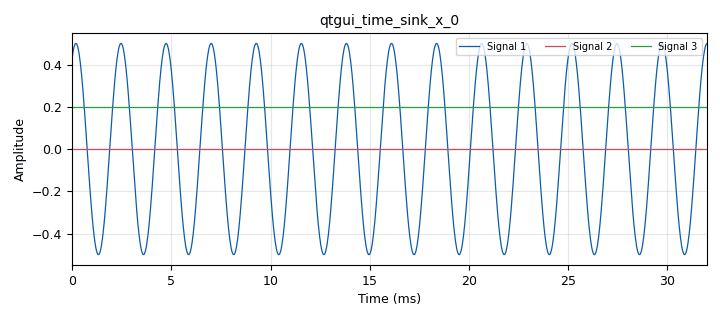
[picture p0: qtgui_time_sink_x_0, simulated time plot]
options:
  parameters:
    generate_options: qt_gui
    id: part_2
    output_language: python
    title: Not titled yet
  states: {}

blocks:
- name: samp_rate
  id: variable
  parameters:
    value: '32000'
  states: {}
- name: sim_ctcss
  id: variable_qtgui_chooser
  parameters:
    label: Symulacja CTCSS
    label0: Brak Tonu
    label1: Wykryto Ton
    num_opts: '2'
    option0: '0'
    option1: '1'
    type: real
    value: '0'
  states: {}
- name: sim_power
  id: variable_qtgui_chooser
  parameters:
    label: Symulacja Tonu 1750Hz
    label0: Cisza
    label1: PIK!
    num_opts: '2'
    option0: '0'
    option1: '1'
    type: real
    value: '0'
  states: {}
- name: analog_const_source_x_0
  id: analog_const_source_x
  parameters:
    const: sim_ctcss
    type: float
  states: {}
- name: analog_const_source_x_0_0
  id: analog_const_source_x
  parameters:
    const: sim_power
    type: float
  states: {}
- name: analog_sig_source_x_0
  id: analog_sig_source_x
  parameters:
    amp: '0.5'
    freq: '440'
    offset: '0'
    phase: '0'
    samp_rate: samp_rate
    type: float
    waveform: analog.GR_COS_WAVE
  states: {}
- name: blocks_throttle2_0
  id: blocks_throttle2
  parameters:
    samples_per_second: samp_rate
    type: float
  states: {}
- name: epy_block_0
  id: epy_block
  parameters:
    _source_code: |-
      import numpy as np
      from gnuradio import gr

      class repeater_control(gr.sync_block):
          """
          Logika sterująca przemiennikiem:
          - Wejście 0: Surowe Audio (zdemodulowane)
          - Wejście 1: Detekcja CTCSS (sygnał 0.0 lub 1.0)
          - Wejście 2: Detekcja Tonu Mocy (sygnał 0.0 lub 1.0)
          
          - Wyjście 0: Audio Bramkowane (idzie do nadajnika)
          - Wyjście 1: Poziom Mocy (mnożnik dla bloku Multiply)
          """

          def __init__(self, sample_rate=48000, cooldown_seconds=2.0):
              gr.sync_block.__init__(
                  self,
                  name='Repeater Logic Controller',   
                  in_sig=[np.float32, np.float32, np.float32],
                  out_sig=[np.float32, np.float32]
              )
              
              # Konfiguracja
              self.sample_rate = sample_rate
              self.cooldown_samples = int(sample_rate * cooldown_seconds)
              
              # Stan wewnętrzny
              self.current_gain = 0.2  # Domyślna moc (np. 20% amplitudy)
              self.high_gain = 1.0     # Maksymalna moc
              self.low_gain = 0.2      # Minimalna moc
              
              self.timer = 0           # Licznik czasu do debouncingu przełączania mocy

          def work(self, input_items, output_items):
              # Pobranie buforów wejściowych
              audio_in = input_items[0]
              ctcss_signal = input_items[1]
              power_cmd_signal = input_items[2]
              
              # Przygotowanie buforów wyjściowych
              audio_out = output_items[0]
              gain_out = output_items[1]
              
              # --- LOGIKA 1: Bramka Szumów (Squelch) na podstawie CTCSS ---
              # Tworzymy maskę: gdzie CTCSS > 0.5, tam 1, indziej 0
              # Możemy użyć np.mean dla całego bloku, lub próbka po próbce.
              # Tutaj wersja próbka po próbce dla szybkiej reakcji:
              squelch_mask = (ctcss_signal > 0.5).astype(np.float32)
              
              # Mnożymy audio przez maskę (1=gra, 0=cisza)
              audio_out[:] = audio_in * squelch_mask
              
              # --- LOGIKA 2: Zmiana Mocy (z zabezpieczeniem czasowym) ---
              # Sprawdzamy, czy w aktualnym buforze pojawił się ton sterujący
              # Używamy np.max, aby wykryć chociaż krótki sygnał w tym oknie czasu
              
              tone_detected = np.max(power_cmd_signal) > 0.5
              
              # Obsługa licznika (cooldown) - odliczamy w dół
              if self.timer > 0:
                  self.timer -= len(audio_in)
              
              # Jeśli wykryto ton I licznik zszedł do zera -> Przełącz moc
              if tone_detected and self.timer <= 0:
                  if self.current_gain == self.low_gain:
                      self.current_gain = self.high_gain
                  else:
                      self.current_gain = self.low_gain
                  
                  # Zresetuj timer (np. na 2 sekundy), żeby nie przełączało w kółko
                  self.timer = self.cooldown_samples
                  
              # Wystawienie aktualnej wartości mocy na wyjście (stała dla całego bufora)
              gain_out[:] = self.current_gain
              
              return len(output_items[0])
    cooldown_seconds: '1.0'
    sample_rate: samp_rate
  states: {}
- name: note_0
  id: note
  parameters:
    note: AUDIO SIGNAL SIMULATION
  states: {}
- name: note_0_0
  id: note
  parameters:
    note: CTCSS  SIMULATION
  states: {}
- name: note_0_0_0
  id: note
  parameters:
    note: POWER SIMULATION
  states: {}
- name: note_1
  id: note
  parameters:
    note: CORE FUNCTIONALLITY
  states: {}
- name: note_1_0
  id: note
  parameters:
    note: VISUALIZATION
  states: {}
- name: qtgui_time_sink_x_0
  id: qtgui_time_sink_x
  parameters:
    autoscale: 'True'
    nconnections: '3'
    size: '1024'
    srate: samp_rate
    type: float
  states: {}

connections:
- [analog_const_source_x_0, '0', epy_block_0, '1']
- [analog_const_source_x_0_0, '0', epy_block_0, '2']
- [analog_sig_source_x_0, '0', blocks_throttle2_0, '0']
- [blocks_throttle2_0, '0', epy_block_0, '0']
- [blocks_throttle2_0, '0', qtgui_time_sink_x_0, '0']
- [epy_block_0, '0', qtgui_time_sink_x_0, '1']
- [epy_block_0, '1', qtgui_time_sink_x_0, '2']

metadata:
  file_format: 1
  grc_version: 3.10.12.0
